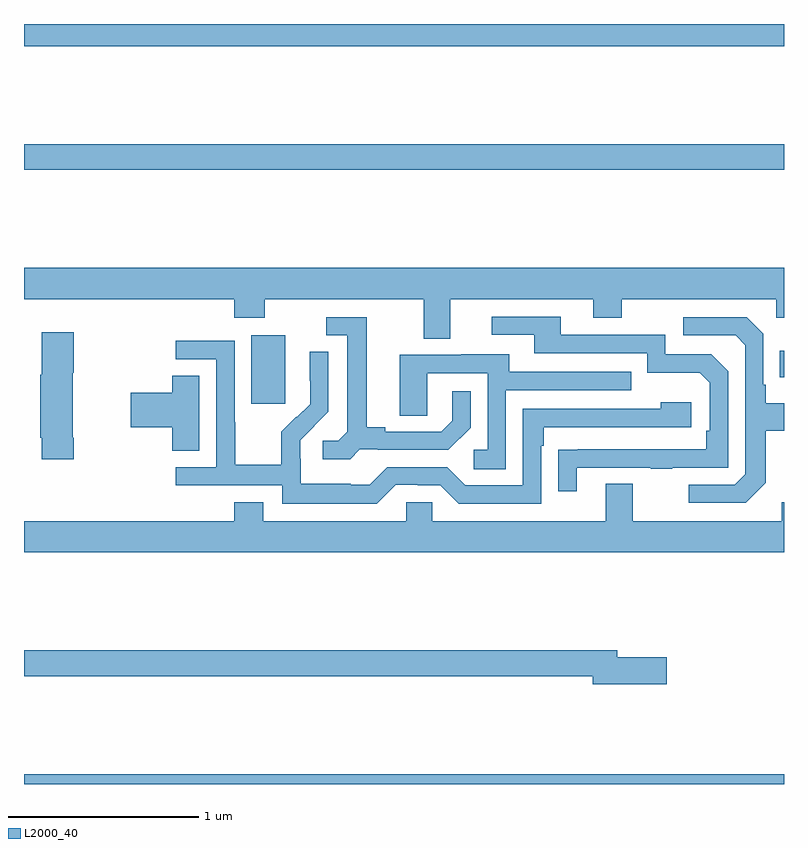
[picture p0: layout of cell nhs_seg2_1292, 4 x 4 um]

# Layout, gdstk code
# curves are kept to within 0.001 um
import gdstk
lib = gdstk.Library(unit=1e-6, precision=1e-09)
def R(c, l, rs):  # rectangles x0, y0, x1, y1
    for r in rs: c.add(gdstk.rectangle(r[:2], r[2:], *l))
def P(c, l, *ps):  # polygons
    for p in ps: c.add(gdstk.Polygon(p, *l))
L2000_40 = (2000, 40)

nhs_seg2_1292 = lib.new_cell('nhs_seg2_1292')
R(nhs_seg2_1292, L2000_40, [(179,595.8,183,595.852), (180.197,597.801,180.376,598.162), (182.977,597.941,183,598.081), (179,599.032,183,599.168), (179,599.684,183,599.8)])
P(nhs_seg2_1292, L2000_40, [(181.243,598.352),(181.997,598.352),(181.997,598.253),(182.145,598.253),(182.145,598.352),(182.958,598.352),(182.958,598.253),(183,598.253),(183,598.516),(179,598.516),(179,598.352),(180.107,598.352),(180.107,598.253),(180.267,598.253),(180.267,598.352),(181.103,598.352),(181.103,598.144),(181.243,598.144)],
  [(181.909,597.465),(182.299,597.465),(182.299,597.46),(182.411,597.46),(182.411,597.465),(182.706,597.465),(182.706,597.972),(182.616,598.062),(182.376,598.062),(182.376,598.164),(181.825,598.164),(181.825,598.26),(181.461,598.26),(181.461,598.164),(181.685,598.164),(181.685,598.068),(182.28,598.068),(182.28,597.965),(182.557,597.965),(182.61,597.912),(182.61,597.658),(182.59,597.658),(182.59,597.561),(181.813,597.56),(181.813,597.342),(181.909,597.342)],
  [(180.768,597.561),(180.862,597.561),(180.862,597.558),(181.234,597.558),(181.35,597.674),(181.35,597.868),(181.253,597.868),(181.253,597.711),(181.196,597.654),(180.901,597.654),(180.901,597.677),(180.805,597.677),(180.805,598.257),(180.591,598.257),(180.591,598.161),(180.701,598.161),(180.701,597.653),(180.654,597.606),(180.573,597.606),(180.573,597.509),(180.716,597.509)],
  [(182.905,597.385),(182.905,597.658),(183,597.658),(183,597.805),(182.905,597.805),(182.905,597.901),(182.892,597.901),(182.892,598.17),(182.805,598.257),(182.469,598.257),(182.469,598.161),(182.745,598.161),(182.796,598.11),(182.796,597.429),(182.742,597.375),(182.499,597.375),(182.499,597.279),(182.799,597.279)],
  [(179.261,597.622),(179.256,597.622),(179.256,597.964),(179.261,597.964),(179.261,598.177),(179.093,598.177),(179.093,597.953),(179.086,597.953),(179.086,597.622),(179.093,597.622),(179.093,597.51),(179.261,597.51)],
  [(180.957,597.375),(181.073,597.375),(181.073,597.372),(181.191,597.372),(181.287,597.276),(181.722,597.276),(181.722,597.581),(181.735,597.581),(181.735,597.678),(182.512,597.678),(182.512,597.808),(182.351,597.808),(182.351,597.774),(181.626,597.774),(181.626,597.372),(181.323,597.372),(181.227,597.468),(180.912,597.468),(180.819,597.375),(180.719,597.375),(180.719,597.379),(180.456,597.379),(180.456,597.513),(180.454,597.513),(180.454,597.61),(180.6,597.758),(180.6,598.076),(180.504,598.076),(180.504,597.922),(180.506,597.922),(180.506,597.8),(180.435,597.729),(180.432,597.732),(180.355,597.655),(180.355,597.481),(180.111,597.481),(180.111,597.704),(180.108,597.704),(180.108,598.134),(179.799,598.134),(179.799,598.035),(180.012,598.035),(180.012,597.468),(179.799,597.468),(179.799,597.372),(180.36,597.372),(180.36,597.275),(180.857,597.275)],
  [(181.536,597.873),(182.195,597.873),(182.195,597.969),(181.555,597.969),(181.555,598.063),(181.301,598.063),(181.301,598.059),(180.977,598.059),(180.977,597.739),(181.122,597.739),(181.122,597.963),(181.44,597.963),(181.44,597.558),(181.368,597.558),(181.368,597.457),(181.536,597.457)],
  [(179.923,597.95),(179.78,597.95),(179.78,597.86),(179.562,597.86),(179.562,597.677),(179.78,597.677),(179.78,597.553),(179.923,597.553)],
  [(183,597.283),(182.987,597.283),(182.987,597.184),(182.203,597.184),(182.203,597.379),(182.063,597.379),(182.063,597.184),(181.149,597.184),(181.149,597.282),(181.011,597.282),(181.011,597.184),(180.259,597.184),(180.259,597.283),(180.107,597.283),(180.107,597.184),(179,597.184),(179,597.02),(183,597.02)],
  [(182.383,596.468),(182.122,596.468),(182.122,596.504),(179,596.504),(179,596.368),(181.994,596.368),(181.994,596.326),(182.383,596.326)])

lib.write_gds('nhs_seg2_1292.gds')
